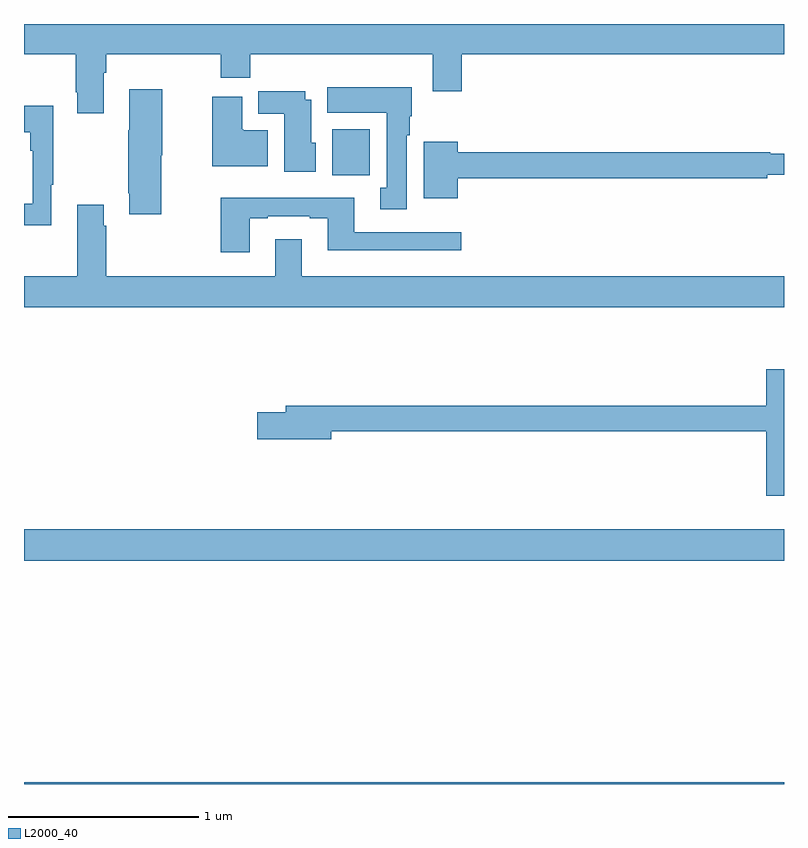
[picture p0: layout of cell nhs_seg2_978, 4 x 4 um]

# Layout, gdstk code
import gdstk
lib = gdstk.Library(unit=1e-6, precision=1e-09)
def R(c, l, rs):  # rectangles x0, y0, x1, y1
    for r in rs: c.add(gdstk.rectangle(r[:2], r[2:], *l))
def P(c, l, *ps):  # polygons
    for p in ps: c.add(gdstk.Polygon(p, *l))
L2000_40 = (2000, 40)

nhs_seg2_978 = lib.new_cell('nhs_seg2_978')
R(nhs_seg2_978, L2000_40, [(161,639.8,165,639.808), (161,640.976,165,641.14), (162.623,643.004,162.82,643.246)])
P(nhs_seg2_978, L2000_40, [(161.419,643.544),(161.432,643.544),(161.432,643.64),(162.035,643.64),(162.035,643.516),(162.191,643.516),(162.191,643.64),(163.151,643.64),(163.151,643.446),(163.304,643.446),(163.304,643.64),(165,643.64),(165,643.8),(161,643.8),(161,643.64),(161.272,643.64),(161.272,643.441),(161.279,643.441),(161.279,643.329),(161.419,643.329)],
  [(163.015,643.214),(163.03,643.214),(163.03,643.314),(163.042,643.314),(163.042,643.468),(162.596,643.468),(162.596,643.334),(162.908,643.334),(162.908,642.938),(162.875,642.938),(162.875,642.825),(163.015,642.825)],
  [(161.723,643.11),(161.728,643.11),(161.728,643.456),(161.555,643.456),(161.555,643.241),(161.548,643.241),(161.548,642.91),(161.555,642.91),(161.555,642.798),(161.723,642.798)],
  [(162.535,643.176),(162.511,643.176),(162.511,643.402),(162.481,643.402),(162.481,643.446),(162.233,643.446),(162.233,643.328),(162.371,643.328),(162.371,643.022),(162.535,643.022)],
  [(162.283,643.24),(162.154,643.24),(162.154,643.246),(162.148,643.246),(162.148,643.417),(161.99,643.417),(161.99,643.052),(162.283,643.052)],
  [(161.143,642.953),(161.155,642.953),(161.155,643.369),(161,643.369),(161,643.229),(161.034,643.229),(161.034,643.133),(161.046,643.133),(161.046,642.854),(161,642.854),(161,642.741),(161.143,642.741)],
  [(163.282,642.988),(164.912,642.988),(164.912,643.007),(165,643.007),(165,643.117),(164.928,643.117),(164.928,643.124),(163.282,643.124),(163.282,643.18),(163.103,643.18),(163.103,642.884),(163.282,642.884)],
  [(162.187,642.777),(162.283,642.777),(162.283,642.789),(162.503,642.789),(162.503,642.777),(162.599,642.777),(162.599,642.608),(163.3,642.608),(163.3,642.705),(162.739,642.705),(162.739,642.886),(162.035,642.886),(162.035,642.6),(162.187,642.6)],
  [(165,642.472),(162.463,642.472),(162.463,642.667),(162.323,642.667),(162.323,642.472),(161.432,642.472),(161.432,642.737),(161.419,642.737),(161.419,642.85),(161.279,642.85),(161.279,642.472),(161,642.472),(161,642.308),(165,642.308)],
  [(165,641.983),(164.906,641.983),(164.906,641.792),(162.377,641.792),(162.377,641.756),(162.228,641.756),(162.228,641.614),(162.616,641.614),(162.616,641.656),(164.906,641.656),(164.906,641.316),(165,641.316)])

lib.write_gds('nhs_seg2_978.gds')
